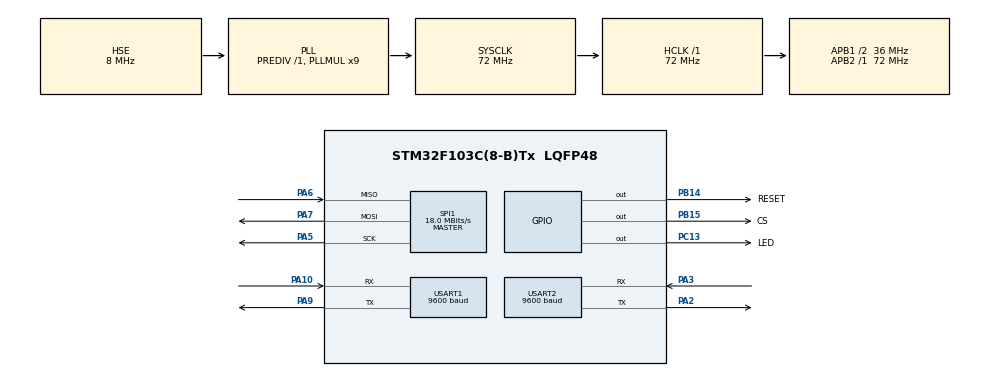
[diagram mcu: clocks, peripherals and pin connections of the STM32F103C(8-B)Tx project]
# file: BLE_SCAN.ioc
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IWDG.Prescaler=IWDG_PRESCALER_128
IWDG.Reload=2500
Mcu.Family=STM32F1
Mcu.Name=STM32F103C(8-B)Tx
Mcu.Package=LQFP48
NVIC.PriorityGroup=NVIC_PRIORITYGROUP_4
NVIC.TIM1_UP_IRQn=true\:0\:0\:false\:false\:true\:true\:true
NVIC.USART1_IRQn=true\:0\:0\:false\:false\:true\:true\:true
PA10.Mode=Asynchronous
PA10.Signal=USART1_RX
PA13.Mode=Serial_Wire
PA13.Signal=SYS_JTMS-SWDIO
PA14.Mode=Serial_Wire
PA14.Signal=SYS_JTCK-SWCLK
PA2.Mode=Asynchronous
PA2.Signal=USART2_TX
PA3.Mode=Asynchronous
PA3.Signal=USART2_RX
PA5.Mode=Full_Duplex_Master
PA5.Signal=SPI1_SCK
PA6.Mode=Full_Duplex_Master
PA6.Signal=SPI1_MISO
PA7.Mode=Full_Duplex_Master
PA7.Signal=SPI1_MOSI
PA9.Mode=Asynchronous
PA9.Signal=USART1_TX
PB14.GPIO_Label=RESET
PB14.GPIO_Speed=GPIO_SPEED_FREQ_MEDIUM
PB14.Signal=GPIO_Output
PB15.GPIO_Label=CS
PB15.GPIO_Speed=GPIO_SPEED_FREQ_MEDIUM
PB15.Signal=GPIO_Output
PB3.Signal=SYS_JTDO-TRACESWO
PC13-TAMPER-RTC.GPIO_Label=LED
PC13-TAMPER-RTC.GPIO_Speed=GPIO_SPEED_FREQ_MEDIUM
PC13-TAMPER-RTC.PinState=GPIO_PIN_SET
PC13-TAMPER-RTC.Signal=GPIO_Output
PD0-OSC_IN.Mode=HSE-External-Oscillator
PD0-OSC_IN.Signal=RCC_OSC_IN
PD1-OSC_OUT.Mode=HSE-External-Oscillator
PD1-OSC_OUT.Signal=RCC_OSC_OUT
ProjectManager.HeapSize=0x200
ProjectManager.StackSize=0x400
ProjectManager.TargetToolchain=STM32CubeIDE
RCC.AHBFreq_Value=72000000
RCC.APB1CLKDivider=RCC_HCLK_DIV2
RCC.APB1Freq_Value=36000000
RCC.APB1TimFreq_Value=72000000
RCC.APB2Freq_Value=72000000
RCC.APB2TimFreq_Value=72000000
RCC.HCLKFreq_Value=72000000
RCC.PLLMUL=RCC_PLL_MUL9
RCC.PLLSourceVirtual=RCC_PLLSOURCE_HSE
RCC.SYSCLKFreq_VALUE=72000000
RCC.SYSCLKSource=RCC_SYSCLKSOURCE_PLLCLK
RCC.USBFreq_Value=72000000
SPI1.BaudRatePrescaler=SPI_BAUDRATEPRESCALER_4
SPI1.CalculateBaudRate=18.0 MBits/s
SPI1.Direction=SPI_DIRECTION_2LINES
SPI1.Mode=SPI_MODE_MASTER
SPI1.VirtualType=VM_MASTER
TIM1.Period=16480
TIM1.Prescaler=65535
USART1.BaudRate=9600
USART1.VirtualMode=VM_ASYNC
USART2.BaudRate=9600
USART2.VirtualMode=VM_ASYNC
VP_IWDG_VS_IWDG.Mode=IWDG_Activate
VP_TIM1_VS_ClockSourceINT.Mode=Internal
board=custom

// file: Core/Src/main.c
/* USER CODE BEGIN Header */
/**
  ******************************************************************************
  * @file           : main.c
  * @brief          : Main program body
  ******************************************************************************
  * @attention
  *
  * <h2><center>&copy; Copyright (c) 2020 STMicroelectronics.
  * All rights reserved.</center></h2>
  *
  * This software component is licensed by ST under BSD 3-Clause license,
  * the "License"; You may not use this file except in compliance with the
  * License. You may obtain a copy of the License at:
  *                        opensource.org/licenses/BSD-3-Clause
  *
  ******************************************************************************
  */
/* USER CODE END Header */

#include "main.h"

/* USER CODE BEGIN Includes */
#include "net.h"
#include "Logger.h"
#include "parser_JSON.h"
/* USER CODE END Includes */

IWDG_HandleTypeDef hiwdg;

SPI_HandleTypeDef hspi1;

TIM_HandleTypeDef htim1;

UART_HandleTypeDef huart1;
UART_HandleTypeDef huart2;

/* USER CODE BEGIN PV */
extern char str1[];
/* USER CODE END PV */

void SystemClock_Config(void);
static void MX_GPIO_Init(void);
static void MX_SPI1_Init(void);
static void MX_USART1_UART_Init(void);
static void MX_USART2_UART_Init(void);
static void MX_IWDG_Init(void);
static void MX_TIM1_Init(void);

int main(void)
{

  /* MCU Configuration--------------------------------------------------------*/

  /* Reset of all peripherals, Initializes the Flash interface and the Systick. */
  HAL_Init();

  /* Configure the system clock */
  SystemClock_Config();

  /* USER CODE BEGIN SysInit */
  reboot_min=0;
  /* USER CODE END SysInit */

  /* Initialize all configured peripherals */
  MX_GPIO_Init();
  MX_SPI1_Init();
  MX_USART1_UART_Init();
  MX_USART2_UART_Init();
  MX_IWDG_Init();
  MX_TIM1_Init();
  /* USER CODE BEGIN 2 */
  HAL_GPIO_WritePin(LED_GPIO_Port, LED_Pin, GPIO_PIN_RESET);
    HAL_Delay(100);
  HAL_GPIO_WritePin(LED_GPIO_Port, LED_Pin, GPIO_PIN_SET);
  HAL_Delay(100);
  HAL_GPIO_WritePin(LED_GPIO_Port, LED_Pin, GPIO_PIN_RESET);
     HAL_Delay(100);
   HAL_GPIO_WritePin(LED_GPIO_Port, LED_Pin, GPIO_PIN_SET);
   HAL_Delay(100);
   HAL_GPIO_WritePin(LED_GPIO_Port, LED_Pin, GPIO_PIN_RESET);
      HAL_Delay(100);
    HAL_GPIO_WritePin(LED_GPIO_Port, LED_Pin, GPIO_PIN_SET);
    HAL_Delay(100);
  net_ini();

  BLE_init(&huart1);
 // LOGGER_init(huart2);

	HAL_Delay(5000);
	BLE_Search_Start();
	HAL_TIM_Base_Start_IT(&htim1);

	 HAL_GPIO_WritePin(LED_GPIO_Port, LED_Pin, GPIO_PIN_RESET);
	    HAL_Delay(100);
	  HAL_GPIO_WritePin(LED_GPIO_Port, LED_Pin, GPIO_PIN_SET);
	  HAL_Delay(100);
	  HAL_GPIO_WritePin(LED_GPIO_Port, LED_Pin, GPIO_PIN_RESET);
	     HAL_Delay(100);
	   HAL_GPIO_WritePin(LED_GPIO_Port, LED_Pin, GPIO_PIN_SET);
	   HAL_Delay(100);
	   HAL_GPIO_WritePin(LED_GPIO_Port, LED_Pin, GPIO_PIN_RESET);
	      HAL_Delay(100);
	    HAL_GPIO_WritePin(LED_GPIO_Port, LED_Pin, GPIO_PIN_SET);
	    HAL_Delay(100);

  //LOG("LOG_DEGUB", LOG_DEGUB);
  /*LOG("LOG_INFO", LOG_INFO);
  LOG("LOG_WARNING", LOG_WARNING);
  LOG("LOG_ERROR", LOG_ERROR);*/

/*
    HAL_StatusTypeDef status;
  int i = 0;
  	  	sprintf(str1,"AT");
  	  	HAL_UART_Transmit(&huart1,"AT",strlen("AT"),0x1000);
  	  status = HAL_UART_Receive(&huart1, Data_Send1, 256, 500);
  	  HAL_Delay(500);
  	HAL_UART_Transmit(&huart1,"AT+ROLE1",strlen("AT+ROLE1"),0x1000);
	  HAL_Delay(500);
  	HAL_UART_Transmit(&huart1,"AT+IMME1",strlen("AT+IMME1"),0x1000);
	  HAL_Delay(500);
  	  HAL_UART_Transmit(&huart1,"AT+DISI?",strlen("AT+DISI?"),0x1000);
  	  	//HAL_UART_Receive(&huart1, (uint8_t*)Data_Send1, 5, 100);

  	status = HAL_UART_Receive(&huart1, Data_Send1, 512, 5000);
*/

  /* USER CODE END 2 */

  /* Infinite loop */
  /* USER CODE BEGIN WHILE */
  while (1)
  {
	 HAL_GPIO_WritePin(LED_GPIO_Port, LED_Pin, GPIO_PIN_RESET);
	    HAL_Delay(70);
	  HAL_GPIO_WritePin(LED_GPIO_Port, LED_Pin, GPIO_PIN_SET);
	  HAL_Delay(70);

	    BLE_Search_up();

    /* USER CODE END WHILE */

    /* USER CODE BEGIN 3 */
	  net_poll();
  }
  /* USER CODE END 3 */
}

void SystemClock_Config(void)
{
  RCC_OscInitTypeDef RCC_OscInitStruct = {0};
  RCC_ClkInitTypeDef RCC_ClkInitStruct = {0};

  /** Initializes the CPU, AHB and APB busses clocks
  */
  RCC_OscInitStruct.OscillatorType = RCC_OSCILLATORTYPE_LSI|RCC_OSCILLATORTYPE_HSE;
  RCC_OscInitStruct.HSEState = RCC_HSE_ON;
  RCC_OscInitStruct.HSEPredivValue = RCC_HSE_PREDIV_DIV1;
  RCC_OscInitStruct.HSIState = RCC_HSI_ON;
  RCC_OscInitStruct.LSIState = RCC_LSI_ON;
  RCC_OscInitStruct.PLL.PLLState = RCC_PLL_ON;
  RCC_OscInitStruct.PLL.PLLSource = RCC_PLLSOURCE_HSE;
  RCC_OscInitStruct.PLL.PLLMUL = RCC_PLL_MUL9;
  if (HAL_RCC_OscConfig(&RCC_OscInitStruct) != HAL_OK)
  {
    Error_Handler();
  }
  /** Initializes the CPU, AHB and APB busses clocks
  */
  RCC_ClkInitStruct.ClockType = RCC_CLOCKTYPE_HCLK|RCC_CLOCKTYPE_SYSCLK
                              |RCC_CLOCKTYPE_PCLK1|RCC_CLOCKTYPE_PCLK2;
  RCC_ClkInitStruct.SYSCLKSource = RCC_SYSCLKSOURCE_PLLCLK;
  RCC_ClkInitStruct.AHBCLKDivider = RCC_SYSCLK_DIV1;
  RCC_ClkInitStruct.APB1CLKDivider = RCC_HCLK_DIV2;
  RCC_ClkInitStruct.APB2CLKDivider = RCC_HCLK_DIV1;

  if (HAL_RCC_ClockConfig(&RCC_ClkInitStruct, FLASH_LATENCY_2) != HAL_OK)
  {
    Error_Handler();
  }
}

static void MX_IWDG_Init(void)
{

  hiwdg.Instance = IWDG;
  hiwdg.Init.Prescaler = IWDG_PRESCALER_128;
  hiwdg.Init.Reload = 2500;
  if (HAL_IWDG_Init(&hiwdg) != HAL_OK)
  {
    Error_Handler();
  }

}

static void MX_SPI1_Init(void)
{

  /* SPI1 parameter configuration*/
  hspi1.Instance = SPI1;
  hspi1.Init.Mode = SPI_MODE_MASTER;
  hspi1.Init.Direction = SPI_DIRECTION_2LINES;
  hspi1.Init.DataSize = SPI_DATASIZE_8BIT;
  hspi1.Init.CLKPolarity = SPI_POLARITY_LOW;
  hspi1.Init.CLKPhase = SPI_PHASE_1EDGE;
  hspi1.Init.NSS = SPI_NSS_SOFT;
  hspi1.Init.BaudRatePrescaler = SPI_BAUDRATEPRESCALER_4;
  hspi1.Init.FirstBit = SPI_FIRSTBIT_MSB;
  hspi1.Init.TIMode = SPI_TIMODE_DISABLE;
  hspi1.Init.CRCCalculation = SPI_CRCCALCULATION_DISABLE;
  hspi1.Init.CRCPolynomial = 10;
  if (HAL_SPI_Init(&hspi1) != HAL_OK)
  {
    Error_Handler();
  }

}

static void MX_TIM1_Init(void)
{

  TIM_ClockConfigTypeDef sClockSourceConfig = {0};
  TIM_MasterConfigTypeDef sMasterConfig = {0};

  htim1.Instance = TIM1;
  htim1.Init.Prescaler = 65535;
  htim1.Init.CounterMode = TIM_COUNTERMODE_UP;
  htim1.Init.Period = 16480;
  htim1.Init.ClockDivision = TIM_CLOCKDIVISION_DIV1;
  htim1.Init.RepetitionCounter = 0;
  htim1.Init.AutoReloadPreload = TIM_AUTORELOAD_PRELOAD_DISABLE;
  if (HAL_TIM_Base_Init(&htim1) != HAL_OK)
  {
    Error_Handler();
  }
  sClockSourceConfig.ClockSource = TIM_CLOCKSOURCE_INTERNAL;
  if (HAL_TIM_ConfigClockSource(&htim1, &sClockSourceConfig) != HAL_OK)
  {
    Error_Handler();
  }
  sMasterConfig.MasterOutputTrigger = TIM_TRGO_RESET;
  sMasterConfig.MasterSlaveMode = TIM_MASTERSLAVEMODE_DISABLE;
  if (HAL_TIMEx_MasterConfigSynchronization(&htim1, &sMasterConfig) != HAL_OK)
  {
    Error_Handler();
  }

}

static void MX_USART1_UART_Init(void)
{

  huart1.Instance = USART1;
  huart1.Init.BaudRate = 9600;
  huart1.Init.WordLength = UART_WORDLENGTH_8B;
  huart1.Init.StopBits = UART_STOPBITS_1;
  huart1.Init.Parity = UART_PARITY_NONE;
  huart1.Init.Mode = UART_MODE_TX_RX;
  huart1.Init.HwFlowCtl = UART_HWCONTROL_NONE;
  huart1.Init.OverSampling = UART_OVERSAMPLING_16;
  if (HAL_UART_Init(&huart1) != HAL_OK)
  {
    Error_Handler();
  }

}

static void MX_USART2_UART_Init(void)
{

  huart2.Instance = USART2;
  huart2.Init.BaudRate = 9600;
  huart2.Init.WordLength = UART_WORDLENGTH_8B;
  huart2.Init.StopBits = UART_STOPBITS_1;
  huart2.Init.Parity = UART_PARITY_NONE;
  huart2.Init.Mode = UART_MODE_TX_RX;
  huart2.Init.HwFlowCtl = UART_HWCONTROL_NONE;
  huart2.Init.OverSampling = UART_OVERSAMPLING_16;
  if (HAL_UART_Init(&huart2) != HAL_OK)
  {
    Error_Handler();
  }

}

static void MX_GPIO_Init(void)
{
  GPIO_InitTypeDef GPIO_InitStruct = {0};

  /* GPIO Ports Clock Enable */
  __HAL_RCC_GPIOC_CLK_ENABLE();
  __HAL_RCC_GPIOD_CLK_ENABLE();
  __HAL_RCC_GPIOA_CLK_ENABLE();
  __HAL_RCC_GPIOB_CLK_ENABLE();

  /*Configure GPIO pin Output Level */
  HAL_GPIO_WritePin(LED_GPIO_Port, LED_Pin, GPIO_PIN_SET);

  /*Configure GPIO pin Output Level */
  HAL_GPIO_WritePin(GPIOB, RESET_Pin|CS_Pin, GPIO_PIN_RESET);

  /*Configure GPIO pin : LED_Pin */
  GPIO_InitStruct.Pin = LED_Pin;
  GPIO_InitStruct.Mode = GPIO_MODE_OUTPUT_PP;
  GPIO_InitStruct.Pull = GPIO_NOPULL;
  GPIO_InitStruct.Speed = GPIO_SPEED_FREQ_MEDIUM;
  HAL_GPIO_Init(LED_GPIO_Port, &GPIO_InitStruct);

  /*Configure GPIO pins : RESET_Pin CS_Pin */
  GPIO_InitStruct.Pin = RESET_Pin|CS_Pin;
  GPIO_InitStruct.Mode = GPIO_MODE_OUTPUT_PP;
  GPIO_InitStruct.Pull = GPIO_NOPULL;
  GPIO_InitStruct.Speed = GPIO_SPEED_FREQ_MEDIUM;
  HAL_GPIO_Init(GPIOB, &GPIO_InitStruct);

}

/* USER CODE BEGIN 4 */

void HAL_TIM_PeriodElapsedCallback(TIM_HandleTypeDef *htim)
{
        if(htim->Instance == TIM1) //check if the interrupt comes from TIM1
        {
        	//HAL_GPIO_TogglePin(LED_GPIO_Port, LED_Pin);
        	if(reboot_min>=8)//20=5min
        	    {
        			IWDG->KR = 0x00005555U;
        		    IWDG->PR = IWDG_PRESCALER_4;
        		    IWDG->KR = 0x00005555U;
        		    IWDG->RLR = 0;
        	    	//HAL_GPIO_TogglePin(LED_GPIO_Port, LED_Pin);
        	    }
        	    else
        	    {
        	    	reboot_min++;
        	    }
        }
}

void HAL_UART_RxCpltCallback(UART_HandleTypeDef *huart)

{

          if(huart == BLE_UART)
          {
        	  BLE_Callback();
          }
          UNUSED(huart);
}

void HAL_UART_ErrorCallback (UART_HandleTypeDef * huart){

	  __HAL_UART_CLEAR_OREFLAG (huart);
	  __HAL_UART_CLEAR_NEFLAG (huart);
	  __HAL_UART_CLEAR_FEFLAG (huart);
	  __HAL_UART_DISABLE_IT (huart, UART_IT_ERR);

	///сбросить флаги ошибок
	sprintf(str1,"HAL_UART_ErrorCallback()\r\n");
						HAL_UART_Transmit(&huart2,(uint8_t*)str1,strlen(str1),0x1000);
						   if(huart == BLE_UART)
						          {
							   RCV_Status= BLE_Recive_CALLBACKERROR;

						   RCV_Status= BLE_Recive_CALLBACKERROR;
						   NadoPodnyat=1;
						   //HAL_UART_Receive_IT (huart, u8DATUartShortRxBuffer1, 1);
						   }
						   UNUSED(huart);

}

/* USER CODE END 4 */

void Error_Handler(void)
{
  /* USER CODE BEGIN Error_Handler_Debug */
  /* User can add his own implementation to report the HAL error return state */
			HAL_GPIO_WritePin(LED_GPIO_Port, LED_Pin, GPIO_PIN_RESET);
		    HAL_Delay(10);
		    HAL_GPIO_WritePin(LED_GPIO_Port, LED_Pin, GPIO_PIN_SET);
		    HAL_Delay(10);
  /* USER CODE END Error_Handler_Debug */
}

/************************ (C) COPYRIGHT STMicroelectronics *****END OF FILE****/
